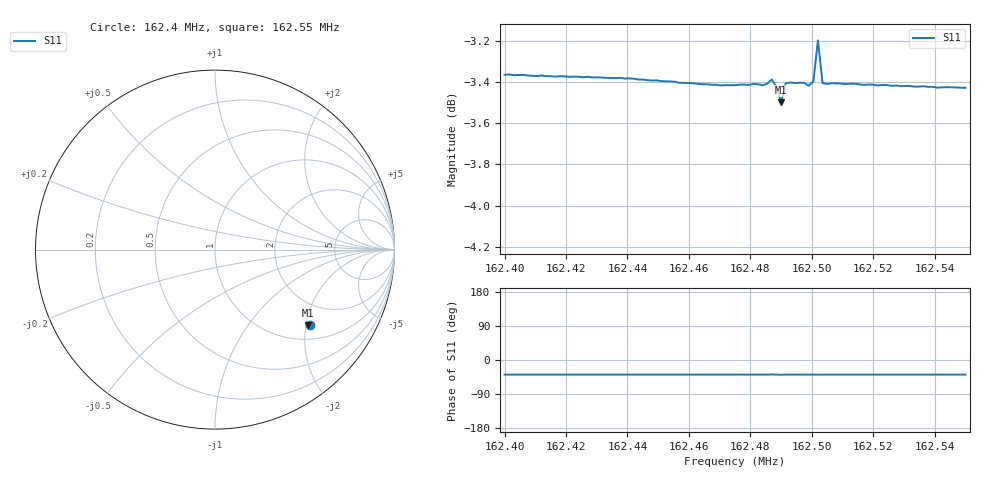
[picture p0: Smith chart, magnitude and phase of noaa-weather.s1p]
! Calibrated averaged scanner-service zoom
# Hz S RI R 50
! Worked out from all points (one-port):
!   101 points, 162.4 MHz to 162.55 MHz, reference 50 ohm
!   lowest |S11| = -3.5 dB at 162.49 MHz (marker M1), VSWR 5.03, Z = 68 - j103 ohm
!   |S11| at or under -10 dB: nowhere
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1.624e8  0.5312 -0.4227
1.624195e8  0.5308 -0.4224
1.624375e8  0.5302 -0.4221
1.62457e8  0.5288 -0.4208
1.624705e8  0.5281 -0.4202
1.62475e8  0.5281 -0.4204
1.624825e8  0.5284 -0.4205
1.62484e8  0.5268 -0.4219
1.624855e8  0.5285 -0.4208
1.62487e8  0.533 -0.4176
1.624885e8  0.5267 -0.4209
1.6249e8  0.5202 -0.42
1.624915e8  0.5286 -0.4209
1.624945e8  0.5286 -0.421
1.62496e8  0.5281 -0.4218
1.624975e8  0.5285 -0.4212
1.62499e8  0.5282 -0.4199
1.625005e8  0.5284 -0.4221
1.62502e8  0.5396 -0.4334
1.625035e8  0.5285 -0.421
1.62505e8  0.5282 -0.4209
1.625065e8  0.5285 -0.421
1.625125e8  0.5283 -0.421
1.625155e8  0.528 -0.4209
1.62517e8  0.5281 -0.4205
1.625185e8  0.528 -0.4208
1.62532e8  0.5276 -0.4204
1.6255e8  0.527 -0.4201
